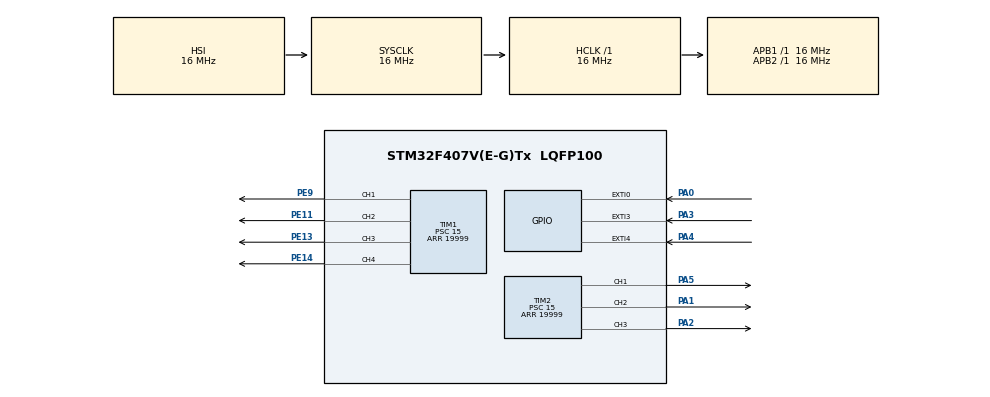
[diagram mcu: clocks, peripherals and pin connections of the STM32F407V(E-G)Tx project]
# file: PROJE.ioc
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Mcu.Family=STM32F4
Mcu.Name=STM32F407V(E-G)Tx
Mcu.Package=LQFP100
NVIC.EXTI0_IRQn=true\:0\:0\:false\:false\:true\:true
NVIC.EXTI3_IRQn=true\:0\:0\:false\:false\:true\:true
NVIC.EXTI4_IRQn=true\:0\:0\:false\:false\:true\:true
NVIC.PriorityGroup=NVIC_PRIORITYGROUP_4
PA0-WKUP.Signal=GPXTI0
PA1.Signal=S_TIM2_CH2
PA2.Signal=S_TIM2_CH3
PA3.Signal=GPXTI3
PA4.Signal=GPXTI4
PA5.Signal=S_TIM2_CH1_ETR
PE11.Signal=S_TIM1_CH2
PE13.Signal=S_TIM1_CH3
PE14.Signal=S_TIM1_CH4
PE9.Signal=S_TIM1_CH1
ProjectManager.HeapSize=0x200
ProjectManager.StackSize=0x400
ProjectManager.TargetToolchain=MDK-ARM V5
RCC.AHBFreq_Value=16000000
RCC.APB1Freq_Value=16000000
RCC.APB2Freq_Value=16000000
RCC.CortexFreq_Value=16000000
RCC.HSE_VALUE=25000000
RCC.HSI_VALUE=16000000
RCC.LSE_VALUE=32768
RCC.SYSCLKFreq_VALUE=16000000
RCC.VCOOutputFreq_Value=192000000
SH.S_TIM1_CH1.0=TIM1_CH1,PWM Generation1 CH1
SH.S_TIM1_CH2.0=TIM1_CH2,PWM Generation2 CH2
SH.S_TIM1_CH3.0=TIM1_CH3,PWM Generation3 CH3
SH.S_TIM1_CH4.0=TIM1_CH4,PWM Generation4 CH4
SH.S_TIM2_CH1_ETR.0=TIM2_CH1,PWM Generation1 CH1
SH.S_TIM2_CH2.0=TIM2_CH2,PWM Generation2 CH2
SH.S_TIM2_CH3.0=TIM2_CH3,PWM Generation3 CH3
TIM1.Channel-PWM\ Generation1\ CH1=TIM_CHANNEL_1
TIM1.Channel-PWM\ Generation2\ CH2=TIM_CHANNEL_2
TIM1.Channel-PWM\ Generation3\ CH3=TIM_CHANNEL_3
TIM1.Channel-PWM\ Generation4\ CH4=TIM_CHANNEL_4
TIM1.Period=19999
TIM1.Prescaler=15
TIM1.Pulse-PWM\ Generation1\ CH1=500
TIM1.Pulse-PWM\ Generation2\ CH2=500
TIM1.Pulse-PWM\ Generation3\ CH3=500
TIM1.Pulse-PWM\ Generation4\ CH4=500
TIM2.Channel-PWM\ Generation1\ CH1=TIM_CHANNEL_1
TIM2.Channel-PWM\ Generation2\ CH2=TIM_CHANNEL_2
TIM2.Channel-PWM\ Generation3\ CH3=TIM_CHANNEL_3
TIM2.Period=19999
TIM2.Prescaler=15
TIM2.Pulse-PWM\ Generation1\ CH1=500
TIM2.Pulse-PWM\ Generation2\ CH2=500
TIM2.Pulse-PWM\ Generation3\ CH3=500
board=custom

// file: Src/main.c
/* USER CODE BEGIN Header */
/**
  ******************************************************************************
  * @file           : main.c
  * @brief          : Main program body
  ******************************************************************************
  ** This notice applies to any and all portions of this file
  * that are not between comment pairs USER CODE BEGIN and
  * USER CODE END. Other portions of this file, whether
  * inserted by the user or by software development tools
  * are owned by their respective copyright owners.
  *
  * COPYRIGHT(c) 2019 STMicroelectronics
  *
  * Redistribution and use in source and binary forms, with or without modification,
  * are permitted provided that the following conditions are met:
  *   1. Redistributions of source code must retain the above copyright notice,
  *      this list of conditions and the following disclaimer.
  *   2. Redistributions in binary form must reproduce the above copyright notice,
  *      this list of conditions and the following disclaimer in the documentation
  *      and/or other materials provided with the distribution.
  *   3. Neither the name of STMicroelectronics nor the names of its contributors
  *      may be used to endorse or promote products derived from this software
  *      without specific prior written permission.
  *
  * THIS SOFTWARE IS PROVIDED BY THE COPYRIGHT HOLDERS AND CONTRIBUTORS "AS IS"
  * AND ANY EXPRESS OR IMPLIED WARRANTIES, INCLUDING, BUT NOT LIMITED TO, THE
  * IMPLIED WARRANTIES OF MERCHANTABILITY AND FITNESS FOR A PARTICULAR PURPOSE ARE
  * DISCLAIMED. IN NO EVENT SHALL THE COPYRIGHT HOLDER OR CONTRIBUTORS BE LIABLE
  * FOR ANY DIRECT, INDIRECT, INCIDENTAL, SPECIAL, EXEMPLARY, OR CONSEQUENTIAL
  * DAMAGES (INCLUDING, BUT NOT LIMITED TO, PROCUREMENT OF SUBSTITUTE GOODS OR
  * SERVICES; LOSS OF USE, DATA, OR PROFITS; OR BUSINESS INTERRUPTION) HOWEVER
  * CAUSED AND ON ANY THEORY OF LIABILITY, WHETHER IN CONTRACT, STRICT LIABILITY,
  * OR TORT (INCLUDING NEGLIGENCE OR OTHERWISE) ARISING IN ANY WAY OUT OF THE USE
  * OF THIS SOFTWARE, EVEN IF ADVISED OF THE POSSIBILITY OF SUCH DAMAGE.
  *
  ******************************************************************************
  */
/* USER CODE END Header */

#include "main.h"

TIM_HandleTypeDef htim1;
TIM_HandleTypeDef htim2;

/* USER CODE BEGIN PV */
uint8_t count=0;
uint8_t boolean=0;
/* USER CODE END PV */

void SystemClock_Config(void);
static void MX_GPIO_Init(void);
static void MX_TIM1_Init(void);
static void MX_TIM2_Init(void);

/* USER CODE BEGIN 0 */
void saydir(uint16_t deger){
	if(deger==0){

		TIM1->CCR1=1000;		//A		9'dan 0'a dönerken G segmenti A ve E segmentine
		HAL_Delay(10);			//			 çapmamasi için 2 segmenti önce biraz asagi
		TIM2->CCR1=1300;		//E					indirip sonra G segmentini indiriyoruz.
		HAL_Delay(10);
		TIM1->CCR2=700;			//B
		HAL_Delay(10);
		TIM1->CCR3=850;			//C
		HAL_Delay(10);
		TIM1->CCR4=900;			//D
		HAL_Delay(10);
		TIM2->CCR3=1750;		//G
		HAL_Delay(10);
		TIM2->CCR2=750;			//F
		HAL_Delay(10);
		TIM1->CCR1=700;			//A
		HAL_Delay(10);
		TIM2->CCR1=900;			//E
		HAL_Delay(10);

	}else if(deger==1){

		TIM1->CCR3=1700;		//C
		HAL_Delay(10);
		TIM1->CCR4=1700;		//D
		HAL_Delay(10);
		TIM2->CCR1=1600;		//E
		HAL_Delay(10);
		TIM2->CCR2=1750;		//F
		HAL_Delay(10);

	}else if(deger==2){

		TIM1->CCR1=900;			//A
		HAL_Delay(10);
		TIM1->CCR2=1600;		//B
		HAL_Delay(10);
		TIM2->CCR2=750;			//F
		HAL_Delay(10);
		TIM2->CCR3=800;			//G
		HAL_Delay(10);
		TIM1->CCR1=700;			//A
		HAL_Delay(10);
		TIM1->CCR3=850;			//C
		HAL_Delay(10);
		TIM1->CCR4=900;			//D
		HAL_Delay(10);

	}else if(deger==3){

		TIM1->CCR2=700;			//B
		HAL_Delay(10);
		TIM1->CCR4=1700;		//D
		HAL_Delay(10);

	}else if(deger==4){

		TIM2->CCR1=900;			//E
		HAL_Delay(10);
		TIM2->CCR2=1600;		//F
		HAL_Delay(10);
		TIM1->CCR3=1700;		//C
		HAL_Delay(10);

	}else if(deger==5){

		TIM1->CCR1=1700;		//A
		HAL_Delay(10);
		TIM2->CCR2=750;			//F
		HAL_Delay(10);
		TIM1->CCR3=850;			//C
		HAL_Delay(10);

	}else if(deger==6){

		TIM2->CCR2=1600;		//F
		HAL_Delay(10);
		TIM1->CCR4=900;			//D
		HAL_Delay(10);

	}else if(deger==7){

		TIM2->CCR1=1600;		//E
		HAL_Delay(10);
		TIM1->CCR4=1700;		//D
		HAL_Delay(10);
		TIM2->CCR3=1750;		//G
		HAL_Delay(10);
		TIM1->CCR3=1700;		//C
		HAL_Delay(10);
		TIM2->CCR2=750;			//F
		HAL_Delay(10);
		TIM1->CCR1=700;			//A
		HAL_Delay(10);

	}else if(deger==8){

		TIM1->CCR1=900;			//A
		HAL_Delay(10);
		TIM1->CCR3=850;			//C
		HAL_Delay(10);
		TIM2->CCR3=800;			//G
		HAL_Delay(10);
		TIM1->CCR1=700;			//A
		HAL_Delay(10);
		TIM1->CCR4=900;			//D
		HAL_Delay(10);
		TIM2->CCR1=900;			//E
		HAL_Delay(10);

	}else if(deger==9){

		TIM1->CCR3=1700;		//C
		HAL_Delay(10);
		TIM1->CCR4=1700;		//D
		HAL_Delay(10);

	}else{

	}

}
/* USER CODE END 0 */

int main(void)
{

  /* MCU Configuration--------------------------------------------------------*/

  /* Reset of all peripherals, Initializes the Flash interface and the Systick. */
  HAL_Init();

  /* Configure the system clock */
  SystemClock_Config();

  /* Initialize all configured peripherals */
  MX_GPIO_Init();
  MX_TIM1_Init();
  MX_TIM2_Init();
  /* USER CODE BEGIN 2 */
	HAL_TIM_PWM_Start(&htim1, TIM_CHANNEL_1);
	HAL_TIM_PWM_Start(&htim1, TIM_CHANNEL_2);
	HAL_TIM_PWM_Start(&htim1, TIM_CHANNEL_3);
	HAL_TIM_PWM_Start(&htim1, TIM_CHANNEL_4);
	HAL_TIM_PWM_Start(&htim2, TIM_CHANNEL_1);
	HAL_TIM_PWM_Start(&htim2, TIM_CHANNEL_2);
	HAL_TIM_PWM_Start(&htim2, TIM_CHANNEL_3);
  /* USER CODE END 2 */

  /* Infinite loop */
  while (1)
  {

    /* USER CODE BEGIN 3 */

		if(HAL_GPIO_ReadPin(GPIOA,GPIO_PIN_3)){			//Eger switch yukari çekilirse buton ile arttiriliyor
			if(HAL_GPIO_ReadPin(GPIOA,GPIO_PIN_0)){
				saydir(count);
				HAL_Delay(1000);
				if(count!=9){
					count++;
				}else{
					count=0;
				}
			}
		}else if(HAL_GPIO_ReadPin(GPIOA,GPIO_PIN_4)){		//Eger switch asagi çekilirse otomatik olarak sayiyor

		TIM1->CCR1=1700;		//A
		HAL_Delay(10);
		TIM1->CCR2=1600;		//B
		HAL_Delay(10);
		TIM1->CCR3=1700;		//C
		HAL_Delay(10);
		TIM1->CCR4=1700;		//D
		HAL_Delay(10);
		TIM2->CCR1=1700;		//E
		HAL_Delay(10);
		TIM2->CCR2=1600;		//F
		HAL_Delay(10);
		TIM2->CCR3=1750;		//G
		HAL_Delay(10);

			for(uint8_t i=0;i<=9;i++){
				if(HAL_GPIO_ReadPin(GPIOA,GPIO_PIN_4)){
					saydir(i);
					HAL_Delay(1000);
				}
			}
		}else{							//switct orta seviyeye çekilirse sayma islemi duruyor ve tüm segmentler kapaniyor.

		TIM1->CCR1=1700;		//A
		HAL_Delay(10);
		TIM1->CCR2=1600;		//B
		HAL_Delay(10);
		TIM1->CCR3=1700;		//C
		HAL_Delay(10);
		TIM1->CCR4=1700;		//D
		HAL_Delay(10);
		TIM2->CCR1=1700;		//E
		HAL_Delay(10);
		TIM2->CCR2=1600;		//F
		HAL_Delay(10);
		TIM2->CCR3=1750;		//G
		HAL_Delay(10);

		}
  }
  /* USER CODE END 3 */
}

void SystemClock_Config(void)
{
  RCC_OscInitTypeDef RCC_OscInitStruct = {0};
  RCC_ClkInitTypeDef RCC_ClkInitStruct = {0};

  /**Configure the main internal regulator output voltage
  */
  __HAL_RCC_PWR_CLK_ENABLE();
  __HAL_PWR_VOLTAGESCALING_CONFIG(PWR_REGULATOR_VOLTAGE_SCALE1);
  /**Initializes the CPU, AHB and APB busses clocks
  */
  RCC_OscInitStruct.OscillatorType = RCC_OSCILLATORTYPE_HSI;
  RCC_OscInitStruct.HSIState = RCC_HSI_ON;
  RCC_OscInitStruct.HSICalibrationValue = RCC_HSICALIBRATION_DEFAULT;
  RCC_OscInitStruct.PLL.PLLState = RCC_PLL_NONE;
  if (HAL_RCC_OscConfig(&RCC_OscInitStruct) != HAL_OK)
  {
    Error_Handler();
  }
  /**Initializes the CPU, AHB and APB busses clocks
  */
  RCC_ClkInitStruct.ClockType = RCC_CLOCKTYPE_HCLK|RCC_CLOCKTYPE_SYSCLK
                              |RCC_CLOCKTYPE_PCLK1|RCC_CLOCKTYPE_PCLK2;
  RCC_ClkInitStruct.SYSCLKSource = RCC_SYSCLKSOURCE_HSI;
  RCC_ClkInitStruct.AHBCLKDivider = RCC_SYSCLK_DIV1;
  RCC_ClkInitStruct.APB1CLKDivider = RCC_HCLK_DIV1;
  RCC_ClkInitStruct.APB2CLKDivider = RCC_HCLK_DIV1;

  if (HAL_RCC_ClockConfig(&RCC_ClkInitStruct, FLASH_LATENCY_0) != HAL_OK)
  {
    Error_Handler();
  }
}

static void MX_TIM1_Init(void)
{

  TIM_MasterConfigTypeDef sMasterConfig = {0};
  TIM_OC_InitTypeDef sConfigOC = {0};
  TIM_BreakDeadTimeConfigTypeDef sBreakDeadTimeConfig = {0};

  htim1.Instance = TIM1;
  htim1.Init.Prescaler = 15;
  htim1.Init.CounterMode = TIM_COUNTERMODE_UP;
  htim1.Init.Period = 19999;
  htim1.Init.ClockDivision = TIM_CLOCKDIVISION_DIV1;
  htim1.Init.RepetitionCounter = 0;
  if (HAL_TIM_PWM_Init(&htim1) != HAL_OK)
  {
    Error_Handler();
  }
  sMasterConfig.MasterOutputTrigger = TIM_TRGO_RESET;
  sMasterConfig.MasterSlaveMode = TIM_MASTERSLAVEMODE_DISABLE;
  if (HAL_TIMEx_MasterConfigSynchronization(&htim1, &sMasterConfig) != HAL_OK)
  {
    Error_Handler();
  }
  sConfigOC.OCMode = TIM_OCMODE_PWM1;
  sConfigOC.Pulse = 500;
  sConfigOC.OCPolarity = TIM_OCPOLARITY_HIGH;
  sConfigOC.OCNPolarity = TIM_OCNPOLARITY_HIGH;
  sConfigOC.OCFastMode = TIM_OCFAST_DISABLE;
  sConfigOC.OCIdleState = TIM_OCIDLESTATE_RESET;
  sConfigOC.OCNIdleState = TIM_OCNIDLESTATE_RESET;
  if (HAL_TIM_PWM_ConfigChannel(&htim1, &sConfigOC, TIM_CHANNEL_1) != HAL_OK)
  {
    Error_Handler();
  }
  if (HAL_TIM_PWM_ConfigChannel(&htim1, &sConfigOC, TIM_CHANNEL_2) != HAL_OK)
  {
    Error_Handler();
  }
  if (HAL_TIM_PWM_ConfigChannel(&htim1, &sConfigOC, TIM_CHANNEL_3) != HAL_OK)
  {
    Error_Handler();
  }
  if (HAL_TIM_PWM_ConfigChannel(&htim1, &sConfigOC, TIM_CHANNEL_4) != HAL_OK)
  {
    Error_Handler();
  }
  sBreakDeadTimeConfig.OffStateRunMode = TIM_OSSR_DISABLE;
  sBreakDeadTimeConfig.OffStateIDLEMode = TIM_OSSI_DISABLE;
  sBreakDeadTimeConfig.LockLevel = TIM_LOCKLEVEL_OFF;
  sBreakDeadTimeConfig.DeadTime = 0;
  sBreakDeadTimeConfig.BreakState = TIM_BREAK_DISABLE;
  sBreakDeadTimeConfig.BreakPolarity = TIM_BREAKPOLARITY_HIGH;
  sBreakDeadTimeConfig.AutomaticOutput = TIM_AUTOMATICOUTPUT_DISABLE;
  if (HAL_TIMEx_ConfigBreakDeadTime(&htim1, &sBreakDeadTimeConfig) != HAL_OK)
  {
    Error_Handler();
  }
  HAL_TIM_MspPostInit(&htim1);

}

static void MX_TIM2_Init(void)
{

  TIM_MasterConfigTypeDef sMasterConfig = {0};
  TIM_OC_InitTypeDef sConfigOC = {0};

  htim2.Instance = TIM2;
  htim2.Init.Prescaler = 15;
  htim2.Init.CounterMode = TIM_COUNTERMODE_UP;
  htim2.Init.Period = 19999;
  htim2.Init.ClockDivision = TIM_CLOCKDIVISION_DIV1;
  if (HAL_TIM_PWM_Init(&htim2) != HAL_OK)
  {
    Error_Handler();
  }
  sMasterConfig.MasterOutputTrigger = TIM_TRGO_RESET;
  sMasterConfig.MasterSlaveMode = TIM_MASTERSLAVEMODE_DISABLE;
  if (HAL_TIMEx_MasterConfigSynchronization(&htim2, &sMasterConfig) != HAL_OK)
  {
    Error_Handler();
  }
  sConfigOC.OCMode = TIM_OCMODE_PWM1;
  sConfigOC.Pulse = 500;
  sConfigOC.OCPolarity = TIM_OCPOLARITY_HIGH;
  sConfigOC.OCFastMode = TIM_OCFAST_DISABLE;
  if (HAL_TIM_PWM_ConfigChannel(&htim2, &sConfigOC, TIM_CHANNEL_1) != HAL_OK)
  {
    Error_Handler();
  }
  if (HAL_TIM_PWM_ConfigChannel(&htim2, &sConfigOC, TIM_CHANNEL_2) != HAL_OK)
  {
    Error_Handler();
  }
  if (HAL_TIM_PWM_ConfigChannel(&htim2, &sConfigOC, TIM_CHANNEL_3) != HAL_OK)
  {
    Error_Handler();
  }
  HAL_TIM_MspPostInit(&htim2);

}

static void MX_GPIO_Init(void)
{
  GPIO_InitTypeDef GPIO_InitStruct = {0};

  /* GPIO Ports Clock Enable */
  __HAL_RCC_GPIOA_CLK_ENABLE();
  __HAL_RCC_GPIOE_CLK_ENABLE();

  /*Configure GPIO pins : PA0 PA3 PA4 */
  GPIO_InitStruct.Pin = GPIO_PIN_0|GPIO_PIN_3|GPIO_PIN_4;
  GPIO_InitStruct.Mode = GPIO_MODE_IT_RISING;
  GPIO_InitStruct.Pull = GPIO_NOPULL;
  HAL_GPIO_Init(GPIOA, &GPIO_InitStruct);

  /* EXTI interrupt init*/
  HAL_NVIC_SetPriority(EXTI0_IRQn, 0, 0);
  HAL_NVIC_EnableIRQ(EXTI0_IRQn);

  HAL_NVIC_SetPriority(EXTI3_IRQn, 0, 0);
  HAL_NVIC_EnableIRQ(EXTI3_IRQn);

  HAL_NVIC_SetPriority(EXTI4_IRQn, 0, 0);
  HAL_NVIC_EnableIRQ(EXTI4_IRQn);

}

void Error_Handler(void)
{
}

/************************ (C) COPYRIGHT STMicroelectronics *****END OF FILE****/
